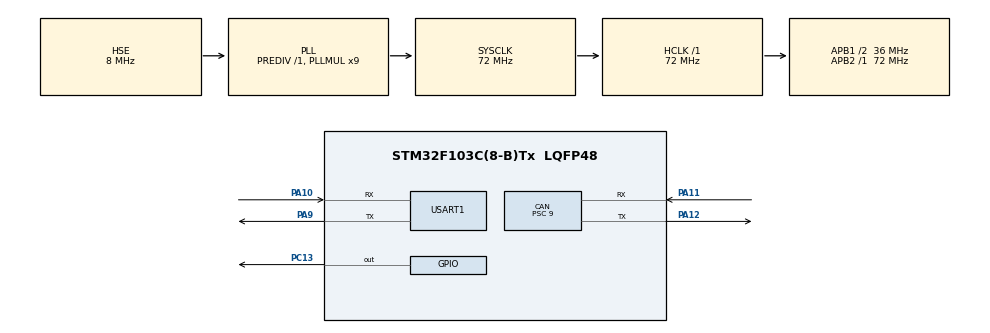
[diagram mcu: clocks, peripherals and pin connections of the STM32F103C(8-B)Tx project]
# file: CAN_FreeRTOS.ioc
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CAN.BS1=CAN_BS1_6TQ
CAN.CalculateBaudRate=500000
CAN.CalculateTimeBit=2000
CAN.CalculateTimeQuantum=250.0
CAN.Prescaler=9
FREERTOS.BinarySemaphores01=CanSemaphore,Dynamic,NULL,Depleted
FREERTOS.Queues01=CanFrameQueue,10,12,1,Dynamic,NULL,NULL;PrintStringQueue,20,64,1,Dynamic,NULL,NULL
FREERTOS.Tasks01=CAN_Rx_Task,40,256,StartCAN_Rx_Task,Default,NULL,Dynamic,NULL,NULL;Data_Proc_Task,24,256,StartData_Proc_Task,Default,NULL,Dynamic,NULL,NULL;UART_Print_Task,8,256,StartUART_Print_Task,Default,NULL,Dynamic,NULL,NULL
FREERTOS.configTOTAL_HEAP_SIZE=8192
FREERTOS.configUSE_NEWLIB_REENTRANT=1
Mcu.Family=STM32F1
Mcu.Name=STM32F103C(8-B)Tx
Mcu.Package=LQFP48
NVIC.PriorityGroup=NVIC_PRIORITYGROUP_4
NVIC.TIM1_UP_IRQn=true\:15\:0\:false\:false\:true\:false\:false\:true\:true
NVIC.TimeBase=TIM1_UP_IRQn
NVIC.TimeBaseIP=TIM1
NVIC.USB_LP_CAN1_RX0_IRQn=true\:5\:0\:false\:false\:true\:true\:true\:true\:true
PA10.Mode=Asynchronous
PA10.Signal=USART1_RX
PA11.Mode=CAN_Activate
PA11.Signal=CAN_RX
PA12.Mode=CAN_Activate
PA12.Signal=CAN_TX
PA13.Mode=Serial_Wire
PA13.Signal=SYS_JTMS-SWDIO
PA14.Mode=Serial_Wire
PA14.Signal=SYS_JTCK-SWCLK
PA9.Mode=Asynchronous
PA9.Signal=USART1_TX
PC13-TAMPER-RTC.Signal=GPIO_Output
PD0-OSC_IN.Mode=HSE-External-Oscillator
PD0-OSC_IN.Signal=RCC_OSC_IN
PD1-OSC_OUT.Mode=HSE-External-Oscillator
PD1-OSC_OUT.Signal=RCC_OSC_OUT
ProjectManager.HeapSize=0x200
ProjectManager.StackSize=0x400
ProjectManager.TargetToolchain=STM32CubeIDE
RCC.AHBFreq_Value=72000000
RCC.APB1CLKDivider=RCC_HCLK_DIV2
RCC.APB1Freq_Value=36000000
RCC.APB1TimFreq_Value=72000000
RCC.APB2Freq_Value=72000000
RCC.APB2TimFreq_Value=72000000
RCC.HCLKFreq_Value=72000000
RCC.PLLMUL=RCC_PLL_MUL9
RCC.PLLSourceVirtual=RCC_PLLSOURCE_HSE
RCC.SYSCLKFreq_VALUE=72000000
RCC.SYSCLKSource=RCC_SYSCLKSOURCE_PLLCLK
RCC.USBFreq_Value=72000000
USART1.VirtualMode=VM_ASYNC
VP_FREERTOS_VS_CMSIS_V2.Mode=CMSIS_V2
VP_SYS_VS_tim1.Mode=TIM1
board=custom

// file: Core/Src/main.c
/* USER CODE BEGIN Header */
/**
  ******************************************************************************
  * @file           : main.c
  * @brief          : CAN 接收端 - FreeRTOS 版本
  ******************************************************************************
  * @attention
  *
  * 功能：STM32F103C8 作为 CAN 接收端，通过 FreeRTOS 任务接收 CAN 数据并打印
  * CAN配置：500kbps，Normal模式，过滤器仅接收ID 0x100
  * 串口：115200，用于调试输出
  *
  ******************************************************************************
  */
/* USER CODE END Header */
#include "main.h"
#include "cmsis_os.h"
#include "can.h"
#include "usart.h"
#include "gpio.h"
#include <string.h>
#include <stdio.h>
#include "semphr.h"
#include "can_frame.h"

/* 定义 CAN 帧结构体（用于队列传递） */
typedef struct {
    uint32_t id;
    uint8_t data[8];
} CAN_Frame_t;

/* USER CODE BEGIN PV */

/* 外部声明：freertos.c 中定义的队列句柄 */
extern osMessageQueueId_t CanFrameQueueHandle;

/* USER CODE END PV */

void SystemClock_Config(void);
void MX_FREERTOS_Init(void);

int main(void)
{

  HAL_Init();

  SystemClock_Config();

  MX_GPIO_Init();
  MX_USART1_UART_Init();
  MX_CAN_Init();   // 硬件初始化

  /* USER CODE BEGIN 2 */

  // ====== 串口启动提示 ======
  HAL_UART_Transmit(&huart1, (uint8_t*)"Start\r\n", 7, 100);

  // ====== 配置 CAN 过滤器（IDLIST 模式，只接收 ID 0x100） ======
  CAN_FilterTypeDef sFilterConfig;
  sFilterConfig.FilterBank = 0;
  sFilterConfig.FilterMode = CAN_FILTERMODE_IDLIST;
  sFilterConfig.FilterScale = CAN_FILTERSCALE_16BIT;
  sFilterConfig.FilterIdHigh = (0x100 << 5) & 0xFFFF;
  sFilterConfig.FilterIdLow = 0x0000;
  sFilterConfig.FilterMaskIdHigh = 0xFFFF;
  sFilterConfig.FilterMaskIdLow = 0xFFFF;
  sFilterConfig.FilterFIFOAssignment = CAN_RX_FIFO0;
  sFilterConfig.FilterActivation = ENABLE;
  if (HAL_CAN_ConfigFilter(&hcan, &sFilterConfig) != HAL_OK) {
      HAL_UART_Transmit(&huart1, (uint8_t*)"Filter Error\r\n", 14, 100);
      Error_Handler();
  }

  // ====== 启动 CAN（带重试机制） ======
  HAL_UART_Transmit(&huart1, (uint8_t*)"Starting CAN...\r\n", 18, 100);

  uint8_t retry = 0;
  HAL_StatusTypeDef can_status = HAL_ERROR;

  while (retry < 5 && can_status != HAL_OK) {
      can_status = HAL_CAN_Start(&hcan);
      if (can_status != HAL_OK) {
          retry++;
          HAL_UART_Transmit(&huart1, (uint8_t*)"Retry...\r\n", 9, 100);
          HAL_Delay(100);
          MX_CAN_Init();
          HAL_Delay(50);
      }
  }

  if (can_status != HAL_OK) {
      HAL_UART_Transmit(&huart1, (uint8_t*)"Start Error\r\n", 13, 100);
      Error_Handler();
  } else {
      HAL_UART_Transmit(&huart1, (uint8_t*)"Start OK\r\n", 10, 100);
  }

  // ====== 强制配置 PA11 为输入模式 ======
  GPIO_InitTypeDef GPIO_InitStruct = {0};
  __HAL_RCC_GPIOA_CLK_ENABLE();
  GPIO_InitStruct.Pin = GPIO_PIN_11;
  GPIO_InitStruct.Mode = GPIO_MODE_INPUT;
  GPIO_InitStruct.Pull = GPIO_NOPULL;
  HAL_GPIO_Init(GPIOA, &GPIO_InitStruct);

  // ====== 使能 CAN 接收中断 ======
  if (HAL_CAN_ActivateNotification(&hcan, CAN_IT_RX_FIFO0_MSG_PENDING) != HAL_OK) {
      HAL_UART_Transmit(&huart1, (uint8_t*)"Notif Error\r\n", 13, 100);
      Error_Handler();
  }

  HAL_UART_Transmit(&huart1, (uint8_t*)"Init Complete\r\n", 15, 100);
  char msg[] = "FreeRTOS + CAN 接收端启动\r\n";
  HAL_UART_Transmit(&huart1, (uint8_t*)msg, sizeof(msg)-1, 100);

  /* USER CODE END 2 */

  osKernelInitialize();
  MX_FREERTOS_Init();
  osKernelStart();

  while (1)
  {
    /* USER CODE END WHILE */
  }
}

void SystemClock_Config(void)
{
  RCC_OscInitTypeDef RCC_OscInitStruct = {0};
  RCC_ClkInitTypeDef RCC_ClkInitStruct = {0};

  RCC_OscInitStruct.OscillatorType = RCC_OSCILLATORTYPE_HSE;
  RCC_OscInitStruct.HSEState = RCC_HSE_ON;
  RCC_OscInitStruct.HSEPredivValue = RCC_HSE_PREDIV_DIV1;
  RCC_OscInitStruct.HSIState = RCC_HSI_ON;
  RCC_OscInitStruct.PLL.PLLState = RCC_PLL_ON;
  RCC_OscInitStruct.PLL.PLLSource = RCC_PLLSOURCE_HSE;
  RCC_OscInitStruct.PLL.PLLMUL = RCC_PLL_MUL9;
  if (HAL_RCC_OscConfig(&RCC_OscInitStruct) != HAL_OK)
  {
    Error_Handler();
  }

  RCC_ClkInitStruct.ClockType = RCC_CLOCKTYPE_HCLK|RCC_CLOCKTYPE_SYSCLK
                              |RCC_CLOCKTYPE_PCLK1|RCC_CLOCKTYPE_PCLK2;
  RCC_ClkInitStruct.SYSCLKSource = RCC_SYSCLKSOURCE_PLLCLK;
  RCC_ClkInitStruct.AHBCLKDivider = RCC_SYSCLK_DIV1;
  RCC_ClkInitStruct.APB1CLKDivider = RCC_HCLK_DIV2;
  RCC_ClkInitStruct.APB2CLKDivider = RCC_HCLK_DIV1;

  if (HAL_RCC_ClockConfig(&RCC_ClkInitStruct, FLASH_LATENCY_2) != HAL_OK)
  {
    Error_Handler();
  }
}

/* USER CODE BEGIN 4 */

/**
  * @brief CAN 接收中断回调
  * @param hcan CAN 句柄指针
  */
void HAL_CAN_RxFifo0MsgPendingCallback(CAN_HandleTypeDef *hcan)
{
    HAL_GPIO_TogglePin(GPIOC, GPIO_PIN_13);

    // 读取 CAN 数据
    CAN_RxHeaderTypeDef RxHeader;
    uint8_t RxData[8];
    HAL_CAN_GetRxMessage(hcan, CAN_RX_FIFO0, &RxHeader, RxData);

    // 将数据放入队列（中断中发送）
    CAN_Frame_t frame;
    frame.id = RxHeader.StdId;
    for(int i = 0; i < 8; i++) {
        frame.data[i] = RxData[i];
    }

    // 使用 CMSIS-RTOS V2 的队列发送函数（可以在中断中调用）
    osMessageQueuePut(CanFrameQueueHandle, &frame, 0, 0);

    static uint8_t first_time = 1;
    if (first_time) {
        first_time = 0;
        HAL_UART_Transmit(&huart1, (uint8_t*)"CAN IRQ Triggered!\r\n", 21, 100);
    }
}

/* USER CODE END 4 */

void HAL_TIM_PeriodElapsedCallback(TIM_HandleTypeDef *htim)
{
  if (htim->Instance == TIM1)
  {
    HAL_IncTick();
  }
}

void Error_Handler(void)
{
  __disable_irq();
  while (1)
  {
    HAL_GPIO_TogglePin(GPIOC, GPIO_PIN_13);
    HAL_Delay(200);
  }
}

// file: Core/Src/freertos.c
/* USER CODE BEGIN Header */
/**
  ******************************************************************************
  * File Name          : freertos.c
  * Description        : Code for freertos applications
  ******************************************************************************
  * @attention
  *
  * Copyright (c) 2026 STMicroelectronics.
  * All rights reserved.
  *
  * This software is licensed under terms that can be found in the LICENSE file
  * in the root directory of this software component.
  * If no LICENSE file comes with this software, it is provided AS-IS.
  *
  ******************************************************************************
  */
/* USER CODE END Header */

#include "FreeRTOS.h"
#include "task.h"
#include "semphr.h"
#include "main.h"
#include "cmsis_os.h"
#include <stdio.h>
#include <string.h>
#include "can_frame.h"

/* USER CODE BEGIN Variables */

/* 外部声明：在 main.c 中定义的 CAN 和 UART 句柄 */
extern CAN_HandleTypeDef hcan;
extern UART_HandleTypeDef huart1;

typedef struct {
    uint32_t id;
    uint8_t data[8];
} CAN_Frame_t;

/* 队列句柄（在中断中发送，在任务中接收） */
osMessageQueueId_t CanFrameQueueHandle;
/* 打印队列 */
osMessageQueueId_t PrintStringQueueHandle;

/* USER CODE END Variables */

/* Definitions for Data_Proc_Task */
osThreadId_t Data_Proc_TaskHandle;
const osThreadAttr_t Data_Proc_Task_attributes = {
  .name = "Data_Proc_Task",
  .stack_size = 256 * 4,
  .priority = (osPriority_t) osPriorityNormal,
};
/* Definitions for UART_Print_Task */
osThreadId_t UART_Print_TaskHandle;
const osThreadAttr_t UART_Print_Task_attributes = {
  .name = "UART_Print_Task",
  .stack_size = 256 * 4,
  .priority = (osPriority_t) osPriorityLow,
};

/* 队列定义属性 */
const osMessageQueueAttr_t CanFrameQueue_attributes = {
  .name = "CanFrameQueue"
};
const osMessageQueueAttr_t PrintStringQueue_attributes = {
  .name = "PrintStringQueue"
};

void StartData_Proc_Task(void *argument);
void StartUART_Print_Task(void *argument);

void MX_FREERTOS_Init(void);

void MX_FREERTOS_Init(void) {

  /* USER CODE BEGIN RTOS_QUEUES */
  CanFrameQueueHandle = osMessageQueueNew(10, sizeof(CAN_Frame_t), &CanFrameQueue_attributes);
  PrintStringQueueHandle = osMessageQueueNew(20, 64, &PrintStringQueue_attributes);
  /* USER CODE END RTOS_QUEUES */

  /* 创建任务（不再需要 CAN_Rx_Task） */
  Data_Proc_TaskHandle = osThreadNew(StartData_Proc_Task, NULL, &Data_Proc_Task_attributes);
  UART_Print_TaskHandle = osThreadNew(StartUART_Print_Task, NULL, &UART_Print_Task_attributes);

}

void StartData_Proc_Task(void *argument)
{
  /* USER CODE BEGIN StartData_Proc_Task */
  HAL_UART_Transmit(&huart1, (uint8_t*)"Data Proc Task Started\r\n", 24, 100);

  CAN_Frame_t frame;
  char buf[64];
  osStatus_t status;

  for(;;)
  {
    status = osMessageQueueGet(CanFrameQueueHandle, &frame, NULL, osWaitForever);
    if (status == osOK) {
        HAL_UART_Transmit(&huart1, (uint8_t*)"Data Proc\r\n", 11, 100);
        sprintf(buf, "ID:0x%03lX Data:%02X %02X %02X %02X %02X %02X %02X %02X\r\n",
                (unsigned long)frame.id,
                frame.data[0], frame.data[1], frame.data[2], frame.data[3],
                frame.data[4], frame.data[5], frame.data[6], frame.data[7]);
        status = osMessageQueuePut(PrintStringQueueHandle, buf, 0, 0);
        if (status != osOK) {
            HAL_UART_Transmit(&huart1, (uint8_t*)"Print Queue Fail\r\n", 18, 100);
        }
    }
  }
  /* USER CODE END StartData_Proc_Task */
}

void StartUART_Print_Task(void *argument)
{
  /* USER CODE BEGIN StartUART_Print_Task */
  HAL_UART_Transmit(&huart1, (uint8_t*)"UART Print Task Started\r\n", 25, 100);

  char buf[64];
  osStatus_t status;

  for(;;)
  {
    status = osMessageQueueGet(PrintStringQueueHandle, buf, NULL, osWaitForever);
    if (status == osOK) {
        HAL_UART_Transmit(&huart1, (uint8_t*)buf, strlen(buf), 100);
    }
  }
  /* USER CODE END StartUART_Print_Task */
}
